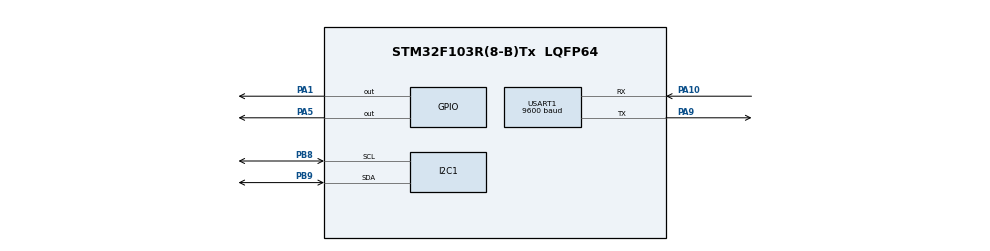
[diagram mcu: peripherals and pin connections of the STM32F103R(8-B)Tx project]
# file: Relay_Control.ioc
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Dma.Request0=USART1_RX
Dma.Request1=USART1_TX
Dma.USART1_RX.0.Direction=DMA_PERIPH_TO_MEMORY
Dma.USART1_RX.0.Instance=DMA1_Channel5
Dma.USART1_RX.0.MemDataAlignment=DMA_MDATAALIGN_BYTE
Dma.USART1_RX.0.MemInc=DMA_MINC_ENABLE
Dma.USART1_RX.0.Mode=DMA_NORMAL
Dma.USART1_RX.0.PeriphDataAlignment=DMA_PDATAALIGN_BYTE
Dma.USART1_RX.0.PeriphInc=DMA_PINC_DISABLE
Dma.USART1_RX.0.Priority=DMA_PRIORITY_LOW
Dma.USART1_TX.1.Direction=DMA_MEMORY_TO_PERIPH
Dma.USART1_TX.1.Instance=DMA1_Channel4
Dma.USART1_TX.1.MemDataAlignment=DMA_MDATAALIGN_BYTE
Dma.USART1_TX.1.MemInc=DMA_MINC_ENABLE
Dma.USART1_TX.1.Mode=DMA_NORMAL
Dma.USART1_TX.1.PeriphDataAlignment=DMA_PDATAALIGN_BYTE
Dma.USART1_TX.1.PeriphInc=DMA_PINC_DISABLE
Dma.USART1_TX.1.Priority=DMA_PRIORITY_LOW
Mcu.Family=STM32F1
Mcu.Name=STM32F103R(8-B)Tx
Mcu.Package=LQFP64
NVIC.DMA1_Channel4_IRQn=true\:0\:0\:false\:false\:true\:false\:true\:true
NVIC.DMA1_Channel5_IRQn=true\:0\:0\:false\:false\:true\:false\:true\:true
NVIC.PriorityGroup=NVIC_PRIORITYGROUP_4
PA1.Signal=GPIO_Output
PA10.Mode=Asynchronous
PA10.Signal=USART1_RX
PA5.Signal=GPIO_Output
PA9.Mode=Asynchronous
PA9.Signal=USART1_TX
PB8.Mode=I2C
PB8.Signal=I2C1_SCL
PB9.Mode=I2C
PB9.Signal=I2C1_SDA
ProjectManager.HeapSize=0x200
ProjectManager.StackSize=0x400
ProjectManager.TargetToolchain=STM32CubeIDE
RCC.APB1Freq_Value=8000000
RCC.APB2Freq_Value=8000000
USART1.BaudRate=9600
USART1.VirtualMode=VM_ASYNC
VP_SYS_VS_ND.Mode=No_Debug
board=custom

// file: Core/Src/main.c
/* USER CODE BEGIN Header */
/**
  ******************************************************************************
  * @file           : main.c
  * @brief          : Main program body
  ******************************************************************************
  * @attention
  *
  * Copyright (c) 2025 STMicroelectronics.
  * All rights reserved.
  *
  * This software is licensed under terms that can be found in the LICENSE file
  * in the root directory of this software component.
  * If no LICENSE file comes with this software, it is provided AS-IS.
  *
  ******************************************************************************
  */
/* USER CODE END Header */
#include "main.h"
#include "ssd1306.h"
#include "ssd1306_fonts.h"

I2C_HandleTypeDef hi2c1;

UART_HandleTypeDef huart1;
DMA_HandleTypeDef hdma_usart1_rx;
DMA_HandleTypeDef hdma_usart1_tx;

/* USER CODE BEGIN PV */
uint8_t rx_data;
/* USER CODE END PV */

void SystemClock_Config(void);
static void MX_GPIO_Init(void);
static void MX_DMA_Init(void);
static void MX_USART1_UART_Init(void);
static void MX_I2C1_Init(void);

int main(void)
{

  /* USER CODE BEGIN 1 */
	char myText[] = "Light controller";
	char lightOn[] = "Light on";
	char lightOff[] = "Light off";
  /* USER CODE END 1 */

  /* MCU Configuration--------------------------------------------------------*/

  /* Reset of all peripherals, Initializes the Flash interface and the Systick. */
  HAL_Init();

  /* Configure the system clock */
  SystemClock_Config();

  /* Initialize all configured peripherals */
  MX_GPIO_Init();
  MX_DMA_Init();
  MX_USART1_UART_Init();
  MX_I2C1_Init();
  /* USER CODE BEGIN 2 */
  ssd1306_Init();
  ssd1306_SetCursor(0, 0);
  ssd1306_WriteString(myText, Font_7x10, White);
  ssd1306_UpdateScreen();
  /* USER CODE END 2 */
  /* Infinite loop */
  while (1)
  {

    /* USER CODE BEGIN 3 */

	  if (HAL_UART_Receive(&huart1, &rx_data, 1, HAL_MAX_DELAY) == HAL_OK)
	  	  {
			if (rx_data == '1') // Turn relay/Toggle light
			{
			  HAL_GPIO_WritePin(GPIOA, GPIO_PIN_1, GPIO_PIN_SET);
			  ssd1306_Init();
			  ssd1306_SetCursor(0, 0);
			  ssd1306_WriteString(lightOff, Font_11x18, White);
			  ssd1306_UpdateScreen();
//			  HAL_GPIO_TogglePin(GPIOA, GPIO_PIN_5); // Helps me confirm Bluetooth module and STM32 Board are talking
			}
			else if (rx_data == '0') // Turn relay/Toggle light
			{
			  HAL_GPIO_WritePin(GPIOA, GPIO_PIN_1, GPIO_PIN_RESET);
			  ssd1306_Init();
			  ssd1306_SetCursor(0, 0);
			  ssd1306_WriteString(lightOn, Font_11x18, White);
			  ssd1306_UpdateScreen();
//			  HAL_GPIO_TogglePin(GPIOA, GPIO_PIN_5); // Helps me confirm Bluetooth module and STM32 Board are talking
			}
		  }
  }
  /* USER CODE END 3 */
}

void SystemClock_Config(void)
{
  RCC_OscInitTypeDef RCC_OscInitStruct = {0};
  RCC_ClkInitTypeDef RCC_ClkInitStruct = {0};

  /** Initializes the RCC Oscillators according to the specified parameters
  * in the RCC_OscInitTypeDef structure.
  */
  RCC_OscInitStruct.OscillatorType = RCC_OSCILLATORTYPE_HSI;
  RCC_OscInitStruct.HSIState = RCC_HSI_ON;
  RCC_OscInitStruct.HSICalibrationValue = RCC_HSICALIBRATION_DEFAULT;
  RCC_OscInitStruct.PLL.PLLState = RCC_PLL_NONE;
  if (HAL_RCC_OscConfig(&RCC_OscInitStruct) != HAL_OK)
  {
    Error_Handler();
  }

  /** Initializes the CPU, AHB and APB buses clocks
  */
  RCC_ClkInitStruct.ClockType = RCC_CLOCKTYPE_HCLK|RCC_CLOCKTYPE_SYSCLK
                              |RCC_CLOCKTYPE_PCLK1|RCC_CLOCKTYPE_PCLK2;
  RCC_ClkInitStruct.SYSCLKSource = RCC_SYSCLKSOURCE_HSI;
  RCC_ClkInitStruct.AHBCLKDivider = RCC_SYSCLK_DIV1;
  RCC_ClkInitStruct.APB1CLKDivider = RCC_HCLK_DIV1;
  RCC_ClkInitStruct.APB2CLKDivider = RCC_HCLK_DIV1;

  if (HAL_RCC_ClockConfig(&RCC_ClkInitStruct, FLASH_LATENCY_0) != HAL_OK)
  {
    Error_Handler();
  }
}

static void MX_I2C1_Init(void)
{

  hi2c1.Instance = I2C1;
  hi2c1.Init.ClockSpeed = 100000;
  hi2c1.Init.DutyCycle = I2C_DUTYCYCLE_2;
  hi2c1.Init.OwnAddress1 = 0;
  hi2c1.Init.AddressingMode = I2C_ADDRESSINGMODE_7BIT;
  hi2c1.Init.DualAddressMode = I2C_DUALADDRESS_DISABLE;
  hi2c1.Init.OwnAddress2 = 0;
  hi2c1.Init.GeneralCallMode = I2C_GENERALCALL_DISABLE;
  hi2c1.Init.NoStretchMode = I2C_NOSTRETCH_DISABLE;
  if (HAL_I2C_Init(&hi2c1) != HAL_OK)
  {
    Error_Handler();
  }

}

static void MX_USART1_UART_Init(void)
{

  huart1.Instance = USART1;
  huart1.Init.BaudRate = 9600;
  huart1.Init.WordLength = UART_WORDLENGTH_8B;
  huart1.Init.StopBits = UART_STOPBITS_1;
  huart1.Init.Parity = UART_PARITY_NONE;
  huart1.Init.Mode = UART_MODE_TX_RX;
  huart1.Init.HwFlowCtl = UART_HWCONTROL_NONE;
  huart1.Init.OverSampling = UART_OVERSAMPLING_16;
  if (HAL_UART_Init(&huart1) != HAL_OK)
  {
    Error_Handler();
  }

}

static void MX_DMA_Init(void)
{

  /* DMA controller clock enable */
  __HAL_RCC_DMA1_CLK_ENABLE();

  /* DMA interrupt init */
  /* DMA1_Channel4_IRQn interrupt configuration */
  HAL_NVIC_SetPriority(DMA1_Channel4_IRQn, 0, 0);
  HAL_NVIC_EnableIRQ(DMA1_Channel4_IRQn);
  /* DMA1_Channel5_IRQn interrupt configuration */
  HAL_NVIC_SetPriority(DMA1_Channel5_IRQn, 0, 0);
  HAL_NVIC_EnableIRQ(DMA1_Channel5_IRQn);

}

static void MX_GPIO_Init(void)
{
  GPIO_InitTypeDef GPIO_InitStruct = {0};

  /* GPIO Ports Clock Enable */
  __HAL_RCC_GPIOA_CLK_ENABLE();
  __HAL_RCC_GPIOB_CLK_ENABLE();

  /*Configure GPIO pin Output Level */
  HAL_GPIO_WritePin(GPIOA, GPIO_PIN_1|GPIO_PIN_5, GPIO_PIN_RESET);

  /*Configure GPIO pins : PA1 PA5 */
  GPIO_InitStruct.Pin = GPIO_PIN_1|GPIO_PIN_5;
  GPIO_InitStruct.Mode = GPIO_MODE_OUTPUT_PP;
  GPIO_InitStruct.Pull = GPIO_NOPULL;
  GPIO_InitStruct.Speed = GPIO_SPEED_FREQ_LOW;
  HAL_GPIO_Init(GPIOA, &GPIO_InitStruct);

}

void Error_Handler(void)
{
  __disable_irq();
  while (1)
  {
  }
}
